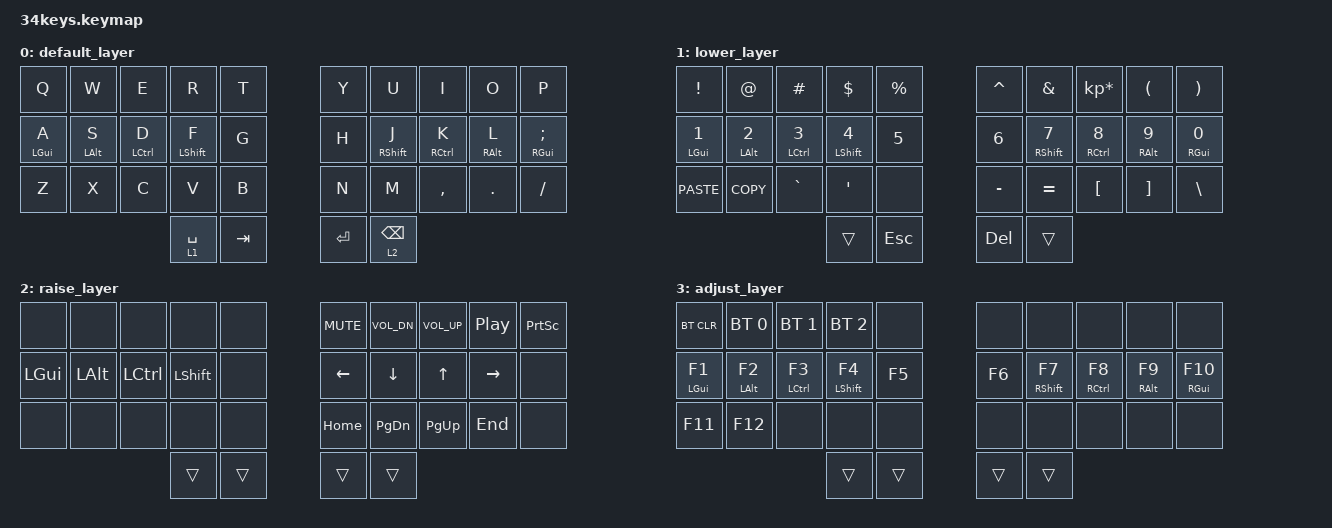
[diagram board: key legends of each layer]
/*
 * Copyright (c) 2020 The ZMK Contributors
 *
 * SPDX-License-Identifier: MIT
 */

#include <behaviors.dtsi>
#include <dt-bindings/zmk/keys.h>
#include <dt-bindings/zmk/bt.h>

//#define KC_COPY &kp LC(C)
//#define KC_PASTE &kp LC(V)

#define DEFAULT 0
#define LOWER   1
#define RAISE   2
#define ADJUST  3

&mt {
	tapping-term-ms = <200>;
	flavor = "tap-preferred";
};

/ {

	conditional_layers {
		compatible = "zmk,conditional-layers";
		tri_layer {
			if-layers = <1 2>;
			then-layer = <3>;
		};
	};
	
	keymap {
		compatible = "zmk,keymap";

		default_layer {
			bindings = <
&kp Q      &kp W      &kp E        &kp R        &kp T    &kp Y   &kp U        &kp I       &kp O      &kp P        
&mt LGUI A &mt LALT S &mt LCTRL D  &mt LSHIFT F &kp G    &kp H   &mt RSHIFT J &mt RCTRL K &mt RALT L &mt RGUI SEMI
&kp Z      &kp X      &kp C        &kp V        &kp B    &kp N   &kp M        &kp COMMA   &kp DOT    &kp FSLH     
                                   &lt 1 SPACE  &kp TAB  &kp RET &lt 2 BSPC
			>;
		};

		lower_layer {
			bindings = <
&kp EXCL    &kp AT      &kp HASH     &kp DOLLAR    &kp PRCNT &kp CARET &kp AMPS      &kp KP_MULTIPLY &kp LPAR    &kp RPAR   
&mt LGUI N1 &mt LALT N2 &mt LCTRL N3 &mt LSHIFT N4 &kp N5    &kp N6    &mt RSHIFT N7 &mt RCTRL N8    &mt RALT N9 &mt RGUI N0
&kp K_PASTE &kp K_COPY  &kp GRAVE    &kp APOS      &none     &kp MINUS &kp EQUAL     &kp LBKT        &kp RBKT    &kp BSLH   
                                     &trans        &kp ESC   &kp DEL   &trans
			>;
		};

		raise_layer {
			bindings = <
&none    &none    &none     &none      &none  &kp C_MUTE &kp C_VOL_DN &kp C_VOL_UP &kp C_PP  &kp PSCRN
&kp LGUI &kp LALT &kp LCTRL &kp LSHIFT &none  &kp LEFT   &kp DOWN     &kp UP       &kp RIGHT &none
&none    &none    &none     &none      &none  &kp HOME   &kp PG_DN    &kp PG_UP    &kp END   &none    
                            &trans     &trans &trans     &trans
			>;
		};
		
		adjust_layer {
			bindings = <
&bt BT_CLR  &bt BT_SEL 0 &bt BT_SEL 1 &bt BT_SEL 2  &none  &none  &none         &none        &none       &none        
&mt LGUI F1 &mt LALT F2  &mt LCTRL F3 &mt LSHIFT F4 &kp F5 &kp F6 &mt RSHIFT F7 &mt RCTRL F8 &mt RALT F9 &mt RGUI F10
&kp F11     &kp F12      &none        &none         &none  &none  &none         &none        &none       &none       
                                      &trans        &trans &trans &trans
			>;
		};		
	};
};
